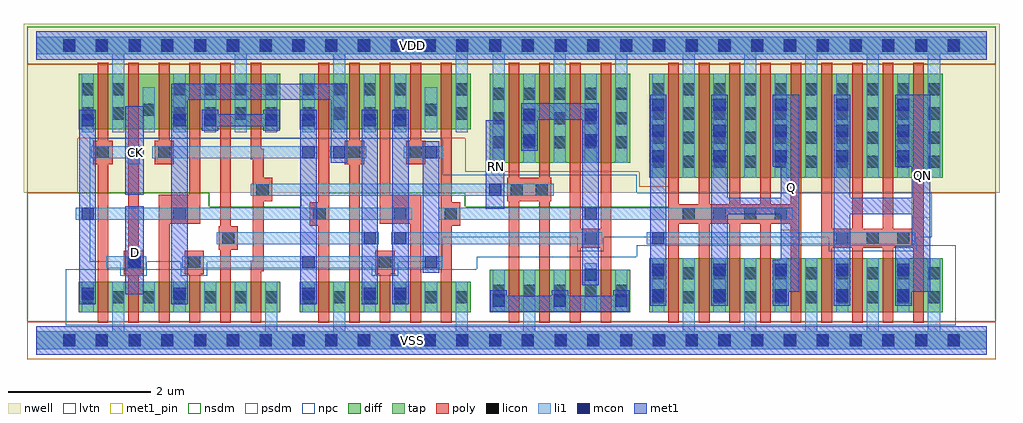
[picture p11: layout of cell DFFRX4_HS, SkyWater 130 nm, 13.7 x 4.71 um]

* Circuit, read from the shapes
.subckt DFFRX4_HS CK D Q QN RN VDD VSS
XM1 VSS CK n1 VSS sky130_fd_pr__nfet_01v8_lvt w=0.425 l=0.15
XM2 n2 D VSS VSS sky130_fd_pr__nfet_01v8_lvt w=0.425 l=0.15
XM3 n3 n1 n2 VSS sky130_fd_pr__nfet_01v8_lvt w=0.425 l=0.15
XM4 n4 n5 n3 VSS sky130_fd_pr__nfet_01v8_lvt w=0.425 l=0.15
XM5 n6 n7 n4 VSS sky130_fd_pr__nfet_01v8_lvt w=0.425 l=0.15
XM6 VSS RN n6 VSS sky130_fd_pr__nfet_01v8_lvt w=0.425 l=0.15
XM7 VSS n1 n5 VSS sky130_fd_pr__nfet_01v8_lvt w=0.425 l=0.15
XM8 n7 n3 VSS VSS sky130_fd_pr__nfet_01v8_lvt w=0.425 l=0.15
XM9 n8 n5 n7 VSS sky130_fd_pr__nfet_01v8_lvt w=0.425 l=0.15
XM10 n9 n1 n8 VSS sky130_fd_pr__nfet_01v8_lvt w=0.425 l=0.15
XM11 VSS n10 n9 VSS sky130_fd_pr__nfet_01v8_lvt w=0.425 l=0.15
XM12 VSS RN n11 VSS sky130_fd_pr__nfet_01v8_lvt w=0.6 l=0.15 m=2
XM13 n10 n8 n11 VSS sky130_fd_pr__nfet_01v8_lvt w=0.6 l=0.15 m=2
XM14 VSS n10 n12 VSS sky130_fd_pr__nfet_01v8_lvt w=0.76 l=0.15
XM15 Q n10 VSS VSS sky130_fd_pr__nfet_01v8_lvt w=0.76 l=0.15 m=4
XM16 QN n12 VSS VSS sky130_fd_pr__nfet_01v8_lvt w=0.76 l=0.15 m=4
XM17 VDD CK n1 VDD sky130_fd_pr__pfet_01v8 w=0.78 l=0.15
XM18 n13 D VDD VDD sky130_fd_pr__pfet_01v8 w=0.78 l=0.15
XM19 n3 n5 n13 VDD sky130_fd_pr__pfet_01v8 w=0.78 l=0.15
XM20 n14 n1 n3 VDD sky130_fd_pr__pfet_01v8 w=0.78 l=0.15
XM21 VDD n7 n14 VDD sky130_fd_pr__pfet_01v8 w=0.78 l=0.15
XM22 n14 RN VDD VDD sky130_fd_pr__pfet_01v8 w=0.78 l=0.15
XM23 VDD n1 n5 VDD sky130_fd_pr__pfet_01v8 w=0.78 l=0.15
XM24 n7 n3 VDD VDD sky130_fd_pr__pfet_01v8 w=0.78 l=0.15
XM25 n8 n1 n7 VDD sky130_fd_pr__pfet_01v8 w=0.78 l=0.15
XM26 n15 n5 n8 VDD sky130_fd_pr__pfet_01v8 w=0.78 l=0.15
XM27 VDD n10 n15 VDD sky130_fd_pr__pfet_01v8 w=0.78 l=0.15
XM28 n10 RN VDD VDD sky130_fd_pr__pfet_01v8 w=1.25 l=0.15 m=2
XM29 n10 n8 VDD VDD sky130_fd_pr__pfet_01v8 w=1.25 l=0.15 m=2
XM30 VDD n10 n12 VDD sky130_fd_pr__pfet_01v8 w=1.46 l=0.15
XM31 Q n10 VDD VDD sky130_fd_pr__pfet_01v8 w=1.46 l=0.15 m=4
XM32 QN n12 VDD VDD sky130_fd_pr__pfet_01v8 w=1.46 l=0.15 m=4
.ends

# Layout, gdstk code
from math import pi, radians
import gdstk
lib = gdstk.Library(unit=1e-6, precision=1e-09)
def R(c, l, rs):  # rectangles x0, y0, x1, y1
    for r in rs: c.add(gdstk.rectangle(r[:2], r[2:], *l))
def A(c, l, x, y, w, h, nx, ny, dx, dy):  # array of equal rectangles
    R(c, l, [(x+i*dx, y+j*dy, x+i*dx+w, y+j*dy+h) for i in range(nx) for j in range(ny)])
def P(c, l, *ps):  # polygons
    for p in ps: c.add(gdstk.Polygon(p, *l))
nwell = (64, 20)
diff = (65, 20)
tap = (65, 44)
poly = (66, 20)
licon = (66, 44)
li1 = (67, 20)
mcon = (67, 44)
met1_pin = (68, 16)
met1 = (68, 20)
nsdm = (93, 44)
psdm = (94, 20)
npc = (95, 20)
lvtn = (125, 44)

licondiff_c_cdns_7520165 = lib.new_cell('LICONDIFF_C_CDNS_752016586819')
R(licondiff_c_cdns_7520165, diff, [(-0.125,-0.145,0.125,0.145)])
R(licondiff_c_cdns_7520165, licon, [(-0.085,-0.085,0.085,0.085), (-0.085,-0.085,0.085,0.085)])

pyl1con_c_cdns_752016586 = lib.new_cell('PYL1CON_C_CDNS_752016586813')
R(pyl1con_c_cdns_752016586, poly, [(-0.135,-0.165,0.135,0.165)])
R(pyl1con_c_cdns_752016586, licon, [(-0.085,-0.085,0.085,0.085)])
R(pyl1con_c_cdns_752016586, npc, [(-0.185,-0.185,0.185,0.185)])

c_pyl1con_c_cdns_752016586 = lib.new_cell('PYL1CON_C_CDNS_7520165868113')
R(c_pyl1con_c_cdns_752016586, poly, [(-0.135,-0.29,0.135,0.29)])
R(c_pyl1con_c_cdns_752016586, licon, [(-0.085,-0.085,0.085,0.085)])
R(c_pyl1con_c_cdns_752016586, npc, [(-0.185,-0.185,0.185,0.185)])

l1m1_c_cdns_752016586811 = lib.new_cell('L1M1_C_CDNS_7520165868116')
R(l1m1_c_cdns_752016586811, li1, [(-0.165,-0.085,0.085,0.085)])
R(l1m1_c_cdns_752016586811, mcon, [(-0.085,-0.085,0.085,0.085)])
R(l1m1_c_cdns_752016586811, met1, [(-0.115,-0.145,0.115,0.145)])

c_l1m1_c_cdns_752016586811 = lib.new_cell('L1M1_C_CDNS_7520165868117')
R(c_l1m1_c_cdns_752016586811, li1, [(-0.125,-0.085,0.125,0.085)])
R(c_l1m1_c_cdns_752016586811, mcon, [(-0.085,-0.085,0.085,0.085)])
R(c_l1m1_c_cdns_752016586811, met1, [(-0.115,-0.145,0.115,0.145)])

l1m1_c_cdns_752016586812 = lib.new_cell('L1M1_C_CDNS_752016586812')
R(l1m1_c_cdns_752016586812, li1, [(-0.085,-0.165,0.085,0.165)])
R(l1m1_c_cdns_752016586812, mcon, [(-0.085,-0.085,0.085,0.085)])
R(l1m1_c_cdns_752016586812, met1, [(-0.115,-0.145,0.115,0.145)])

c_l1m1_c_cdns_752016586811_ = lib.new_cell('L1M1_C_CDNS_752016586811')
R(c_l1m1_c_cdns_752016586811_, li1, [(-0.165,-0.085,0.165,0.085)])
R(c_l1m1_c_cdns_752016586811_, mcon, [(-0.085,-0.085,0.085,0.085)])
R(c_l1m1_c_cdns_752016586811_, met1, [(-0.115,-0.145,0.115,0.145)])

l1m1_c_cdns_752016586817 = lib.new_cell('L1M1_C_CDNS_752016586817')
R(l1m1_c_cdns_752016586817, li1, [(-0.085,-0.525,0.085,0.525)])
A(l1m1_c_cdns_752016586817, mcon, -0.085, -0.445, 0.17, 0.17, 1, 3, 0, 0.36)
R(l1m1_c_cdns_752016586817, met1, [(-0.115,-0.505,0.115,0.505)])

l1m1_c_cdns_752016586816 = lib.new_cell('L1M1_C_CDNS_752016586816')
R(l1m1_c_cdns_752016586816, li1, [(-0.085,-0.345,0.085,0.345)])
R(l1m1_c_cdns_752016586816, mcon, [(-0.085,-0.265,0.085,-0.095), (-0.085,0.095,0.085,0.265)])
R(l1m1_c_cdns_752016586816, met1, [(-0.115,-0.325,0.115,0.325)])

dffrx4_hs = lib.new_cell('DFFRX4_HS')
R(dffrx4_hs, nwell, [(-0.18,2.07,13.52,4.445)])
R(dffrx4_hs, diff, [(0.595,0.395,3.425,0.82), (3.695,0.395,6.095,0.82), (6.365,0.395,8.335,0.995), (8.605,0.395,12.725,1.155), (8.605,2.285,12.725,3.745), (6.365,2.495,8.335,3.745), (0.595,2.965,3.425,3.745), (3.695,2.965,6.095,3.745)])
A(dffrx4_hs, poly, 8.87, 0.245, 0.15, 3.65, 9, 1, 0.43, 0)
R(dffrx4_hs, poly, [(0.86,0.245,1.01,3.895), (1.29,0.245,1.44,0.97), (2.15,0.245,2.3,0.97), (2.58,0.245,2.73,3.895), (3.96,0.245,4.11,3.895), (4.39,0.245,4.54,3.895), (4.82,0.245,4.97,0.97), (5.68,0.245,5.83,3.895), (7.49,0.245,7.64,3.895), (7.92,0.245,8.07,3.895), (1.29,1.11,1.44,3.895), (1.72,2.475,1.87,3.895), (5.25,2.475,5.4,3.895)])
P(dffrx4_hs, poly, [(2.3,3.895),(2.15,3.895),(2.15,2.045),(1.72,2.045),(1.72,0.245),(1.87,0.245),(1.87,1.895),(2.3,1.895)],
  [(3.19,2.69),(3.16,2.69),(3.16,3.895),(3.01,3.895),(3.01,2.54),(3.04,2.54),(3.04,1.12),(3.01,1.12),(3.01,0.245),(3.16,0.245),(3.16,0.97),(3.19,0.97)],
  [(5.4,2.045),(4.97,2.045),(4.97,3.895),(4.82,3.895),(4.82,1.895),(5.25,1.895),(5.25,0.245),(5.4,0.245)],
  [(7.23,2.28),(7.21,2.28),(7.21,3.895),(7.06,3.895),(7.06,2.28),(6.78,2.28),(6.78,3.895),(6.63,3.895),(6.63,2.28),(6.61,2.28),(6.61,1.95),(6.63,1.95),(6.63,0.245),(6.78,0.245),(6.78,1.95),(7.06,1.95),(7.06,0.245),(7.21,0.245),(7.21,1.95),(7.23,1.95)])
A(dffrx4_hs, licon, 0.375, -0.085, 0.17, 0.17, 28, 2, 0.46, 4.14)
A(dffrx4_hs, licon, 3.735, 0.52, 0.17, 0.17, 4, 2, 0.43, 2.58)
A(dffrx4_hs, licon, 8.645, 0.52, 0.17, 0.17, 10, 2, 0.43, 0.34)
A(dffrx4_hs, licon, 6.405, 0.61, 0.17, 0.17, 5, 2, 0.43, 2.085)
A(dffrx4_hs, licon, 8.645, 2.42, 0.17, 0.17, 10, 4, 0.43, 0.34)
A(dffrx4_hs, licon, 6.405, 3.035, 0.17, 0.17, 5, 2, 0.43, 0.34)
A(dffrx4_hs, licon, 1.925, 3.1, 0.17, 0.17, 4, 2, 0.43, 0.34)
A(dffrx4_hs, licon, 3.735, 3.44, 0.17, 0.17, 4, 1, 0.43, 0)
R(dffrx4_hs, licon, [(0.635,0.52,0.805,0.69), (1.065,0.52,1.235,0.69), (1.925,0.52,2.095,0.69), (3.215,0.52,3.385,0.69), (5.885,0.52,6.055,0.69), (0.635,3.1,0.805,3.27), (1.065,3.1,1.235,3.27), (5.885,3.1,6.055,3.27), (0.635,3.44,0.805,3.61), (1.065,3.44,1.235,3.61), (5.885,3.44,6.055,3.61)])
A(dffrx4_hs, li1, 7.265, 0.395, 0.17, 0.6, 3, 1, 0.43, 0)
A(dffrx4_hs, li1, 8.645, 0.395, 0.17, 0.76, 5, 1, 0.86, 0)
A(dffrx4_hs, li1, 8.645, 2.285, 0.17, 1.46, 5, 1, 0.86, 0)
R(dffrx4_hs, li1, [(0.635,0.395,0.805,0.82), (1.925,0.395,2.095,0.82), (3.735,0.395,3.905,0.82), (4.595,0.395,4.765,0.82), (5.025,0.395,5.195,0.82), (6.405,0.395,6.575,0.995), (6.835,2.495,7.005,3.745), (7.695,2.495,7.865,3.745), (0.635,2.965,0.805,3.745), (1.925,2.965,2.095,3.745), (2.355,2.965,2.525,3.745), (3.215,2.965,3.385,3.745), (3.735,2.965,3.905,3.745), (4.595,2.965,4.765,3.745), (5.025,2.965,5.195,3.745)])
P(dffrx4_hs, li1, [(1.455,2.64),(1.315,2.64),(1.315,2.725),(0.77,2.725),(0.77,2.555),(1.285,2.555),(1.285,2.475),(1.455,2.475)],
  [(13.34,4.265),(0,4.265),(0,4.015),(1.065,4.015),(1.065,2.925),(1.235,2.925),(1.235,4.015),(2.785,4.015),(2.785,2.925),(2.955,2.925),(2.955,4.015),(4.165,4.015),(4.165,2.925),(4.335,2.925),(4.335,4.015),(5.885,4.015),(5.885,2.925),(6.055,2.925),(6.055,4.015),(6.405,4.015),(6.405,2.495),(6.575,2.495),(6.575,4.015),(7.265,4.015),(7.265,2.495),(7.435,2.495),(7.435,4.015),(8.125,4.015),(8.125,2.495),(8.295,2.495),(8.295,4.015),(9.075,4.015),(9.075,2.285),(9.245,2.285),(9.245,4.015),(9.935,4.015),(9.935,2.285),(10.105,2.285),(10.105,4.015),(10.795,4.015),(10.795,2.285),(10.965,2.285),(10.965,4.015),(11.655,4.015),(11.655,2.285),(11.825,2.285),(11.825,4.015),(12.515,4.015),(12.515,2.285),(12.685,2.285),(12.685,4.015),(13.34,4.015)],
  [(13.34,0.125),(12.685,0.125),(12.685,1.155),(12.515,1.155),(12.515,0.125),(11.825,0.125),(11.825,1.155),(11.655,1.155),(11.655,0.125),(10.965,0.125),(10.965,1.155),(10.795,1.155),(10.795,0.125),(10.105,0.125),(10.105,1.155),(9.935,1.155),(9.935,0.125),(9.245,0.125),(9.245,1.155),(9.075,1.155),(9.075,0.125),(7.005,0.125),(7.005,0.995),(6.835,0.995),(6.835,0.125),(6.055,0.125),(6.055,0.82),(5.885,0.82),(5.885,0.125),(4.335,0.125),(4.335,0.82),(4.165,0.82),(4.165,0.125),(3.385,0.125),(3.385,0.82),(3.215,0.82),(3.215,0.125),(1.235,0.125),(1.235,0.82),(1.065,0.82),(1.065,0.125),(0,0.125),(0,-0.125),(13.34,-0.125)])
A(dffrx4_hs, mcon, 0.375, -0.085, 0.17, 0.17, 28, 2, 0.46, 4.14)
R(dffrx4_hs, met1_pin, [(1.25,0.645,1.51,1.885), (10.45,1.545,10.71,2.785), (12.29,1.725,12.55,2.965), (6.31,1.85,6.57,3.09), (1.25,2.045,1.51,3.285)])
P(dffrx4_hs, met1, [(10.71,3.45),(10.45,3.45),(10.45,2),(9.705,2),(9.705,3.45),(9.475,3.45),(9.475,0.68),(9.705,0.68),(9.705,1.77),(10.45,1.77),(10.45,0.68),(10.71,0.68)],
  [(12.55,3.45),(12.055,3.45),(12.055,2.44),(12.29,2.44),(12.29,2),(11.425,2),(11.425,3.45),(11.195,3.45),(11.195,0.68),(11.425,0.68),(11.425,1.77),(12.29,1.77),(12.29,1.33),(12.055,1.33),(12.055,0.68),(12.55,0.68)])
R(dffrx4_hs, nsdm, [(-0.125,3.875,13.465,4.405)])
P(dffrx4_hs, nsdm, [(13.465,2.07),(8.87,2.07),(8.87,1.875),(6.02,1.875),(6.02,2.07),(3.715,2.07),(3.715,1.875),(2.43,1.875),(2.43,2.07),(-0.125,2.07),(-0.125,0.265),(13.465,0.265)])
R(dffrx4_hs, psdm, [(-0.125,-0.265,13.465,0.265)])
P(dffrx4_hs, psdm, [(13.465,3.875),(-0.125,3.875),(-0.125,2.07),(0.585,2.07),(0.585,2.835),(6.02,2.835),(6.02,2.365),(8.465,2.365),(8.465,2.155),(8.87,2.155),(8.87,2.07),(13.465,2.07)])
P(dffrx4_hs, npc, [(12.57,2.07),(8.425,2.07),(8.425,2.325),(5.705,2.325),(5.705,2.835),(0.75,2.835),(0.75,1.105),(5.705,1.105),(5.705,1.445),(11.125,1.445),(11.125,1.25),(12.355,1.25),(12.355,1.445),(12.57,1.445)])
P(dffrx4_hs, lvtn, [(12.905,1.335),(8.425,1.335),(8.425,1.175),(6.185,1.175),(6.185,1),(0.415,1),(0.415,0.215),(12.905,0.215)])
dffrx4_hs.add(gdstk.FlexPath([(1.63,2.64),(3.945,2.64)], 0.17, ends="flush", simple_path=True, layer=67, datatype=20))  # li1
dffrx4_hs.add(gdstk.FlexPath([(5.16,2.64),(5.705,2.64)], 0.17, ends="flush", simple_path=True, layer=67, datatype=20))  # li1
dffrx4_hs.add(gdstk.FlexPath([(2.53,1.435),(4.805,1.435)], 0.17, ends="flush", simple_path=True, layer=67, datatype=20))  # li1
dffrx4_hs.add(gdstk.FlexPath([(4.985,1.435),(7.945,1.435)], 0.17, ends="flush", simple_path=True, layer=67, datatype=20))  # li1
dffrx4_hs.add(gdstk.FlexPath([(2.87,0.395),(2.87,0.82)], 0.17, ends="flush", simple_path=True, layer=67, datatype=20))  # li1
dffrx4_hs.add(gdstk.FlexPath([(1.58,0.395),(1.58,0.82)], 0.17, ends="flush", simple_path=True, layer=67, datatype=20))  # li1
dffrx4_hs.add(gdstk.FlexPath([(1.58,2.925),(1.58,3.55)], 0.17, ends="flush", simple_path=True, layer=67, datatype=20))  # li1
dffrx4_hs.add(gdstk.FlexPath([(4.125,2.64),(4.63,2.64)], 0.17, ends="flush", simple_path=True, layer=67, datatype=20))  # li1
dffrx4_hs.add(gdstk.FlexPath([(2.05,1.095),(5.705,1.095)], 0.17, ends="flush", simple_path=True, layer=67, datatype=20))  # li1
dffrx4_hs.add(gdstk.FlexPath([(0.555,1.775),(5.275,1.775)], 0.17, ends="flush", simple_path=True, layer=67, datatype=20))  # li1
dffrx4_hs.add(gdstk.FlexPath([(7.26,2.115),(3.01,2.115)], 0.17, ends="flush", simple_path=True, layer=67, datatype=20))  # li1
dffrx4_hs.add(gdstk.FlexPath([(2.44,0.395),(2.44,0.82)], 0.17, ends="flush", simple_path=True, layer=67, datatype=20))  # li1
dffrx4_hs.add(gdstk.FlexPath([(5.54,0.395),(5.54,0.82)], 0.17, ends="flush", simple_path=True, layer=67, datatype=20))  # li1
dffrx4_hs.add(gdstk.FlexPath([(5.54,2.925),(5.54,3.55)], 0.17, ends="flush", simple_path=True, layer=67, datatype=20))  # li1
dffrx4_hs.add(gdstk.FlexPath([(0.985,1.095),(1.53,1.095)], 0.17, ends="flush", simple_path=True, layer=67, datatype=20))  # li1
dffrx4_hs.add(gdstk.FlexPath([(5.65,1.775),(10.615,1.775)], 0.17, ends="flush", simple_path=True, layer=67, datatype=20))  # li1
dffrx4_hs.add(gdstk.FlexPath([(8.565,1.435),(12.335,1.435)], 0.17, ends="flush", simple_path=True, layer=67, datatype=20))  # li1
dffrx4_hs.add(gdstk.FlexPath([(0,4.14),(13.34,4.14)], 0.25, ends="flush", simple_path=True, layer=65, datatype=44))  # tap
dffrx4_hs.add(gdstk.FlexPath([(0,0),(13.34,0)], 0.25, ends="flush", simple_path=True, layer=65, datatype=44))  # tap
dffrx4_hs.add(gdstk.FlexPath([(0,4.14),(13.34,4.14)], 0.4, ends="flush", simple_path=True, layer=68, datatype=20))  # met1
dffrx4_hs.add(gdstk.FlexPath([(0,0),(13.34,0)], 0.4, ends="flush", simple_path=True, layer=68, datatype=20))  # met1
dffrx4_hs.add(gdstk.FlexPath([(4.25,2.505),(4.25,3.49),(2.01,3.49),(2.01,0.705)], 0.23, ends="flush", simple_path=True, layer=68, datatype=20))  # met1
dffrx4_hs.add(gdstk.FlexPath([(6.805,3.215),(7.78,3.215),(7.78,0.89)], 0.23, ends="flush", simple_path=True, layer=68, datatype=20))  # met1
dffrx4_hs.add(gdstk.FlexPath([(5.54,1.145),(5.54,2.795)], 0.23, ends="flush", simple_path=True, layer=68, datatype=20))  # met1
dffrx4_hs.add(gdstk.FlexPath([(5.11,0.705),(5.11,3.235)], 0.23, ends="flush", simple_path=True, layer=68, datatype=20))  # met1
dffrx4_hs.add(gdstk.FlexPath([(3.82,0.705),(3.82,3.235)], 0.23, ends="flush", simple_path=True, layer=68, datatype=20))  # met1
dffrx4_hs.add(gdstk.FlexPath([(1.38,2.045),(1.38,3.285)], 0.26, ends="flush", simple_path=True, layer=68, datatype=20))  # met1
dffrx4_hs.add(gdstk.FlexPath([(6.44,1.85),(6.44,3.09)], 0.26, ends="flush", simple_path=True, layer=68, datatype=20))  # met1
dffrx4_hs.add(gdstk.FlexPath([(8.73,0.68),(8.73,3.45)], 0.23, ends="flush", simple_path=True, layer=68, datatype=20))  # met1
dffrx4_hs.add(gdstk.FlexPath([(2.325,3.09),(3.415,3.09)], 0.17, ends="flush", simple_path=True, layer=68, datatype=20))  # met1
dffrx4_hs.add(gdstk.FlexPath([(0.72,0.705),(0.72,3.235)], 0.23, ends="flush", simple_path=True, layer=68, datatype=20))  # met1
dffrx4_hs.add(gdstk.FlexPath([(1.38,0.645),(1.38,1.885)], 0.26, ends="flush", simple_path=True, layer=68, datatype=20))  # met1
dffrx4_hs.add(gdstk.FlexPath([(4.68,0.705),(4.68,3.235)], 0.23, ends="flush", simple_path=True, layer=68, datatype=20))  # met1
dffrx4_hs.add(gdstk.FlexPath([(6.375,0.515),(8.325,0.515)], 0.23, ends="flush", simple_path=True, layer=68, datatype=20))  # met1
dffrx4_hs.add(gdstk.FlexPath([(0,4.14),(13.34,4.14)], 0.4, ends="flush", simple_path=True, layer=68, datatype=16))  # met1_pin
dffrx4_hs.add(gdstk.FlexPath([(0,0),(13.34,0)], 0.4, ends="flush", simple_path=True, layer=68, datatype=16))  # met1_pin
dffrx4_hs.add(gdstk.Reference(licondiff_c_cdns_7520165, (2.87,0.605)))
dffrx4_hs.add(gdstk.Reference(licondiff_c_cdns_7520165, (2.44,0.605)))
dffrx4_hs.add(gdstk.Reference(licondiff_c_cdns_7520165, (1.58,0.605)))
dffrx4_hs.add(gdstk.Reference(licondiff_c_cdns_7520165, (1.58,3.235)))
dffrx4_hs.add(gdstk.Reference(licondiff_c_cdns_7520165, (5.54,3.235)))
dffrx4_hs.add(gdstk.Reference(licondiff_c_cdns_7520165, (5.54,0.605)))
dffrx4_hs.add(gdstk.Reference(pyl1con_c_cdns_752016586, (7.095,2.115), rotation=pi, x_reflection=True))
dffrx4_hs.add(gdstk.Reference(pyl1con_c_cdns_752016586, (4.465,2.64), rotation=pi))
dffrx4_hs.add(gdstk.Reference(pyl1con_c_cdns_752016586, (7.78,1.435), rotation=pi/2, x_reflection=True))
dffrx4_hs.add(gdstk.Reference(pyl1con_c_cdns_752016586, (6.745,2.115), rotation=pi, x_reflection=True))
dffrx4_hs.add(gdstk.Reference(pyl1con_c_cdns_752016586, (5.325,2.64), rotation=pi))
dffrx4_hs.add(gdstk.Reference(pyl1con_c_cdns_752016586, (1.795,2.64), rotation=pi))
dffrx4_hs.add(gdstk.Reference(pyl1con_c_cdns_752016586, (2.215,1.095), x_reflection=True))
dffrx4_hs.add(gdstk.Reference(pyl1con_c_cdns_752016586, (4.895,1.095), x_reflection=True))
dffrx4_hs.add(gdstk.Reference(pyl1con_c_cdns_752016586, (5.815,1.775), rotation=pi, x_reflection=True))
dffrx4_hs.add(gdstk.Reference(pyl1con_c_cdns_752016586, (3.975,1.775), rotation=pi, x_reflection=True))
dffrx4_hs.add(gdstk.Reference(pyl1con_c_cdns_752016586, (1.365,1.095), x_reflection=True))
dffrx4_hs.add(gdstk.Reference(pyl1con_c_cdns_752016586, (0.935,2.64), rotation=pi))
dffrx4_hs.add(gdstk.Reference(pyl1con_c_cdns_752016586, (3.175,2.115), x_reflection=True))
dffrx4_hs.add(gdstk.Reference(pyl1con_c_cdns_752016586, (2.695,1.435), rotation=pi))
dffrx4_hs.add(gdstk.Reference(pyl1con_c_cdns_752016586, (9.16,1.775), rotation=pi/2, x_reflection=True))
dffrx4_hs.add(gdstk.Reference(pyl1con_c_cdns_752016586, (10.02,1.775), rotation=pi/2, x_reflection=True))
dffrx4_hs.add(gdstk.Reference(pyl1con_c_cdns_752016586, (9.59,1.775), rotation=pi/2, x_reflection=True))
dffrx4_hs.add(gdstk.Reference(pyl1con_c_cdns_752016586, (10.45,1.775), rotation=pi/2, x_reflection=True))
dffrx4_hs.add(gdstk.Reference(pyl1con_c_cdns_752016586, (12.17,1.435), rotation=pi/2, x_reflection=True))
dffrx4_hs.add(gdstk.Reference(pyl1con_c_cdns_752016586, (11.74,1.435), rotation=pi/2, x_reflection=True))
dffrx4_hs.add(gdstk.Reference(pyl1con_c_cdns_752016586, (11.31,1.435), rotation=pi/2, x_reflection=True))
dffrx4_hs.add(gdstk.Reference(c_pyl1con_c_cdns_752016586, (5.11,1.775), rotation=pi/2))
dffrx4_hs.add(gdstk.Reference(c_pyl1con_c_cdns_752016586, (2.01,1.775), rotation=pi/2, x_reflection=True))
dffrx4_hs.add(gdstk.Reference(l1m1_c_cdns_752016586811, (1.37,2.64), x_reflection=True))
dffrx4_hs.add(gdstk.Reference(c_l1m1_c_cdns_752016586811, (4.25,2.64), rotation=pi, x_reflection=True))
dffrx4_hs.add(gdstk.Reference(c_l1m1_c_cdns_752016586811, (5.11,1.435), x_reflection=True))
dffrx4_hs.add(gdstk.Reference(c_l1m1_c_cdns_752016586811, (3.82,2.64), rotation=pi, x_reflection=True))
dffrx4_hs.add(gdstk.Reference(c_l1m1_c_cdns_752016586811, (4.68,1.435)))
dffrx4_hs.add(gdstk.Reference(l1m1_c_cdns_752016586812, (2.01,0.655), rotation=pi, x_reflection=True))
dffrx4_hs.add(gdstk.Reference(l1m1_c_cdns_752016586812, (2.01,3.09), rotation=pi, x_reflection=True))
dffrx4_hs.add(gdstk.Reference(l1m1_c_cdns_752016586812, (5.11,3.09), rotation=pi, x_reflection=True))
dffrx4_hs.add(gdstk.Reference(l1m1_c_cdns_752016586812, (5.11,0.655), rotation=pi, x_reflection=True))
dffrx4_hs.add(gdstk.Reference(l1m1_c_cdns_752016586812, (4.68,3.09), rotation=pi, x_reflection=True))
dffrx4_hs.add(gdstk.Reference(l1m1_c_cdns_752016586812, (4.68,0.655), rotation=pi, x_reflection=True))
dffrx4_hs.add(gdstk.Reference(l1m1_c_cdns_752016586812, (3.82,3.09), rotation=pi, x_reflection=True))
dffrx4_hs.add(gdstk.Reference(l1m1_c_cdns_752016586812, (3.82,0.655), rotation=pi, x_reflection=True))
dffrx4_hs.add(gdstk.Reference(l1m1_c_cdns_752016586812, (3.3,3.09), rotation=pi, x_reflection=True))
dffrx4_hs.add(gdstk.Reference(l1m1_c_cdns_752016586812, (0.72,0.655), rotation=pi, x_reflection=True))
dffrx4_hs.add(gdstk.Reference(l1m1_c_cdns_752016586812, (0.72,3.09), rotation=pi, x_reflection=True))
dffrx4_hs.add(gdstk.Reference(l1m1_c_cdns_752016586812, (7.78,0.92), rotation=pi, x_reflection=True))
dffrx4_hs.add(gdstk.Reference(l1m1_c_cdns_752016586812, (2.44,3.09), rotation=pi, x_reflection=True))
dffrx4_hs.add(gdstk.Reference(l1m1_c_cdns_752016586812, (7.35,0.56), rotation=pi, x_reflection=True))
dffrx4_hs.add(gdstk.Reference(l1m1_c_cdns_752016586812, (6.49,0.56), rotation=pi, x_reflection=True))
dffrx4_hs.add(gdstk.Reference(l1m1_c_cdns_752016586812, (8.21,0.56), rotation=pi, x_reflection=True))
dffrx4_hs.add(gdstk.Reference(c_l1m1_c_cdns_752016586811_, (5.54,2.64)))
dffrx4_hs.add(gdstk.Reference(c_l1m1_c_cdns_752016586811_, (5.54,1.095)))
dffrx4_hs.add(gdstk.Reference(c_l1m1_c_cdns_752016586811_, (3.82,1.095)))
dffrx4_hs.add(gdstk.Reference(c_l1m1_c_cdns_752016586811_, (7.78,1.775), rotation=pi, x_reflection=True))
dffrx4_hs.add(gdstk.Reference(c_l1m1_c_cdns_752016586811_, (1.38,1.095), x_reflection=True))
dffrx4_hs.add(gdstk.Reference(c_l1m1_c_cdns_752016586811_, (0.72,1.775), rotation=pi, x_reflection=True))
dffrx4_hs.add(gdstk.Reference(c_l1m1_c_cdns_752016586811_, (6.44,2.115), x_reflection=True))
dffrx4_hs.add(gdstk.Reference(c_l1m1_c_cdns_752016586811_, (8.73,1.435), x_reflection=True))
dffrx4_hs.add(gdstk.Reference(l1m1_c_cdns_752016586817, (8.73,2.945)))
dffrx4_hs.add(gdstk.Reference(l1m1_c_cdns_752016586817, (9.59,2.945)))
dffrx4_hs.add(gdstk.Reference(l1m1_c_cdns_752016586817, (10.45,2.945)))
dffrx4_hs.add(gdstk.Reference(l1m1_c_cdns_752016586817, (12.17,2.945)))
dffrx4_hs.add(gdstk.Reference(l1m1_c_cdns_752016586817, (11.31,2.945)))
dffrx4_hs.add(gdstk.Reference(l1m1_c_cdns_752016586816, (6.92,2.99), rotation=pi, x_reflection=True))
dffrx4_hs.add(gdstk.Reference(l1m1_c_cdns_752016586816, (7.78,2.99), rotation=pi, x_reflection=True))
dffrx4_hs.add(gdstk.Reference(l1m1_c_cdns_752016586816, (8.73,0.81)))
dffrx4_hs.add(gdstk.Reference(l1m1_c_cdns_752016586816, (9.59,0.81)))
dffrx4_hs.add(gdstk.Reference(l1m1_c_cdns_752016586816, (10.45,0.81)))
dffrx4_hs.add(gdstk.Reference(l1m1_c_cdns_752016586816, (12.17,0.81)))
dffrx4_hs.add(gdstk.Reference(l1m1_c_cdns_752016586816, (11.31,0.81)))
dffrx4_hs.add(gdstk.Label('CK', (1.395,2.64), layer=68, texttype=5))
dffrx4_hs.add(gdstk.Label('QN', (12.435,2.32), layer=68, texttype=5))
dffrx4_hs.add(gdstk.Label('Q', (10.595,2.14), layer=68, texttype=5))
dffrx4_hs.add(gdstk.Label('RN', (6.455,2.445), layer=68, texttype=5))
dffrx4_hs.add(gdstk.Label('D', (1.395,1.24), layer=68, texttype=5))
dffrx4_hs.add(gdstk.Label('VDD', (5.285,4.145), layer=68, texttype=5))
dffrx4_hs.add(gdstk.Label('VSS', (5.285,0.005), layer=68, texttype=5))

lib.write_gds('DFFRX4_HS.gds')
